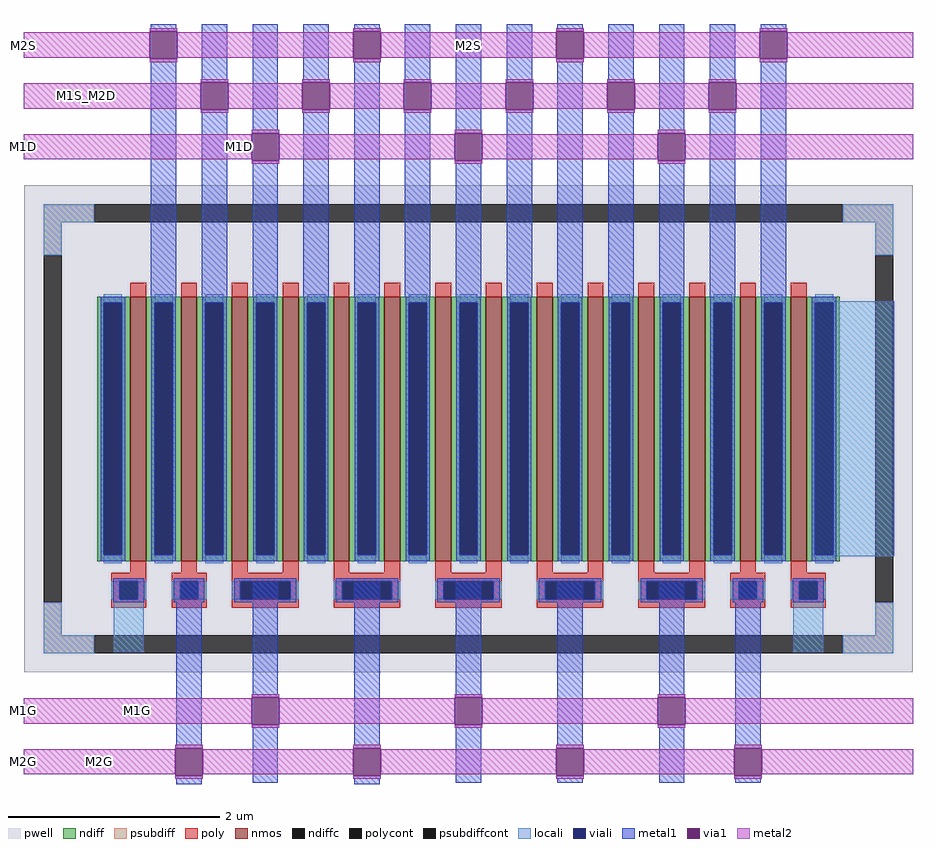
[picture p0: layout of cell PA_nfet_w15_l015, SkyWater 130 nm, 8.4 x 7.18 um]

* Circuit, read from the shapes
.subckt PA_nfet_w15_l015 M1G M2G M1D M1S_M2D M2S
XM1 M2S VSUBS n1 VSUBS sky130_fd_pr__nfet_01v8 w=2.5 l=0.15
XM2 M1S_M2D M2G M2S VSUBS sky130_fd_pr__nfet_01v8 w=2.5 l=0.15 m=6
XM3 M1D M1G M1S_M2D VSUBS sky130_fd_pr__nfet_01v8 w=2.5 l=0.15 m=6
XM4 VSUBS VSUBS M2S VSUBS sky130_fd_pr__nfet_01v8 w=2.5 l=0.15
.ends

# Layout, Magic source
magic
tech sky130A
magscale 1 2
<< locali >>
rect 1370 184 1522 666
rect 48 3 104 137
rect 1332 3 1388 137
<< metal1 >>
rect 118 1182 166 1190
rect 116 1176 168 1182
rect 116 1118 168 1124
rect 118 674 166 1118
rect 214 1086 262 1190
rect 212 1080 264 1086
rect 212 1022 264 1028
rect 214 674 262 1022
rect 310 990 358 1190
rect 406 1086 454 1190
rect 502 1182 550 1190
rect 500 1176 552 1182
rect 500 1118 552 1124
rect 404 1080 456 1086
rect 404 1022 456 1028
rect 308 984 360 990
rect 308 926 360 932
rect 310 674 358 926
rect 406 674 454 1022
rect 502 674 550 1118
rect 598 1086 646 1190
rect 596 1080 648 1086
rect 596 1022 648 1028
rect 598 674 646 1022
rect 694 990 742 1190
rect 790 1086 838 1190
rect 886 1182 934 1190
rect 884 1176 936 1182
rect 884 1118 936 1124
rect 788 1080 840 1086
rect 788 1022 840 1028
rect 692 984 744 990
rect 692 926 744 932
rect 694 674 742 926
rect 790 674 838 1022
rect 886 674 934 1118
rect 982 1086 1030 1190
rect 980 1080 1032 1086
rect 980 1022 1032 1028
rect 982 674 1030 1022
rect 1078 990 1126 1190
rect 1174 1086 1222 1190
rect 1270 1182 1318 1190
rect 1268 1176 1320 1182
rect 1268 1118 1320 1124
rect 1172 1080 1224 1086
rect 1172 1022 1224 1028
rect 1076 984 1128 990
rect 1076 926 1128 932
rect 1078 674 1126 926
rect 1174 674 1222 1022
rect 1270 674 1318 1118
rect 166 -172 214 140
rect 310 -76 358 140
rect 308 -82 360 -76
rect 308 -140 360 -134
rect 164 -178 216 -172
rect 164 -236 216 -230
rect 166 -246 214 -236
rect 310 -244 358 -140
rect 502 -172 550 140
rect 694 -76 742 140
rect 692 -82 744 -76
rect 692 -140 744 -134
rect 500 -178 552 -172
rect 500 -236 552 -230
rect 502 -246 550 -236
rect 694 -244 742 -140
rect 886 -172 934 140
rect 1078 -76 1126 140
rect 1076 -82 1128 -76
rect 1076 -140 1128 -134
rect 884 -178 936 -172
rect 884 -236 936 -230
rect 886 -244 934 -236
rect 1078 -244 1126 -140
rect 1222 -172 1270 140
rect 1220 -178 1272 -172
rect 1220 -236 1272 -230
rect 1222 -244 1270 -236
<< via1 >>
rect 116 1124 168 1176
rect 212 1028 264 1080
rect 500 1124 552 1176
rect 404 1028 456 1080
rect 308 932 360 984
rect 596 1028 648 1080
rect 884 1124 936 1176
rect 788 1028 840 1080
rect 692 932 744 984
rect 980 1028 1032 1080
rect 1268 1124 1320 1176
rect 1172 1028 1224 1080
rect 1076 932 1128 984
rect 308 -134 360 -82
rect 164 -230 216 -178
rect 692 -134 744 -82
rect 500 -230 552 -178
rect 1076 -134 1128 -82
rect 884 -230 936 -178
rect 1220 -230 1272 -178
<< metal2 >>
rect 116 1176 168 1182
rect -122 1126 116 1174
rect 500 1176 552 1182
rect 168 1126 500 1174
rect 116 1118 168 1124
rect 884 1176 936 1182
rect 552 1126 884 1174
rect 500 1118 552 1124
rect 1268 1176 1320 1182
rect 936 1126 1268 1174
rect 884 1118 936 1124
rect 1320 1126 1558 1174
rect 1268 1118 1320 1124
rect 212 1080 264 1086
rect -122 1030 212 1078
rect 404 1080 456 1086
rect 264 1030 404 1078
rect 212 1022 264 1028
rect 596 1080 648 1086
rect 456 1030 596 1078
rect 404 1022 456 1028
rect 788 1080 840 1086
rect 648 1030 788 1078
rect 596 1022 648 1028
rect 980 1080 1032 1086
rect 840 1030 980 1078
rect 788 1022 840 1028
rect 1172 1080 1224 1086
rect 1032 1030 1172 1078
rect 980 1022 1032 1028
rect 1224 1030 1558 1078
rect 1172 1022 1224 1028
rect 308 984 360 990
rect -122 934 308 982
rect 692 984 744 990
rect 360 934 692 982
rect 308 926 360 932
rect 1076 984 1128 990
rect 744 934 1076 982
rect 692 926 744 932
rect 1128 934 1558 982
rect 1076 926 1128 932
rect 308 -82 360 -76
rect -122 -132 308 -84
rect 692 -82 744 -76
rect 360 -132 692 -84
rect 308 -140 360 -134
rect 1076 -82 1128 -76
rect 744 -132 1076 -84
rect 692 -140 744 -134
rect 1128 -132 1558 -84
rect 1076 -140 1128 -134
rect 164 -178 216 -172
rect -122 -228 164 -180
rect 500 -178 552 -172
rect 216 -228 500 -180
rect 164 -236 216 -230
rect 884 -178 936 -172
rect 552 -228 884 -180
rect 500 -236 552 -230
rect 1220 -178 1272 -172
rect 936 -228 1220 -180
rect 884 -236 936 -230
rect 1272 -228 1558 -180
rect 1220 -236 1272 -230
use sky130_fd_pr__nfet_01v8_LM9D52  sky130_fd_pr__nfet_01v8_LM9D52_0
transform 1 0 718 0 1 425
box -839 -460 839 460
<< labels >>
flabel metal2 -122 1030 116 1078 0 FreeSans 320 0 160 0 M1S_M2D
flabel metal2 -122 1126 1558 1174 0 FreeSans 320 0 -6240 0 M2S
flabel metal2 -122 934 692 982 0 FreeSans 320 0 -2720 0 M1D
flabel metal2 -122 -132 308 -84 0 FreeSans 320 0 -1120 0 M1G
flabel metal2 -122 -228 164 -180 0 FreeSans 320 0 -480 0 M2G
rlabel metal2 -122 -204 -122 -204 3 M2G
port 2 e
rlabel metal2 -122 -108 -122 -108 3 M1G
port 1 e
rlabel metal2 -122 958 -122 958 3 M1D
port 3 e
rlabel metal2 -122 1056 -122 1056 3 M1S_M2D
port 4 e
rlabel metal2 -122 1150 -122 1150 3 M2S
port 5 e
<< end >>

# cell sky130_fd_pr__nfet_01v8_LM9D52: kit device sky130_fd_pr__nfet_01v8, w 2.5 l 0.150 m 1 nf 14 diffcov 100 polycov 100 guard 1 glc 1 grc 1 gtc 1 gbc 1 tbcov 100 rlcov 100 topc 1 botc 1 poverlap 0 doverlap 1 lmin 0.15 wmin 0.42 compatible {sky130_fd_pr__nfet_01v8 sky130_fd_pr__nfet_01v8_lvt sky130_fd_bs_flash__special_sonosfet_star sky130_fd_pr__nfet_g5v0d10v5 sky130_fd_pr__nfet_05v0_nvt sky130_fd_pr__nfet_03v3_nvt} full_metal 1 viasrc 100 viadrn 100 viagate 100 viagb 0 viagr 0 viagl 0 viagt 0
